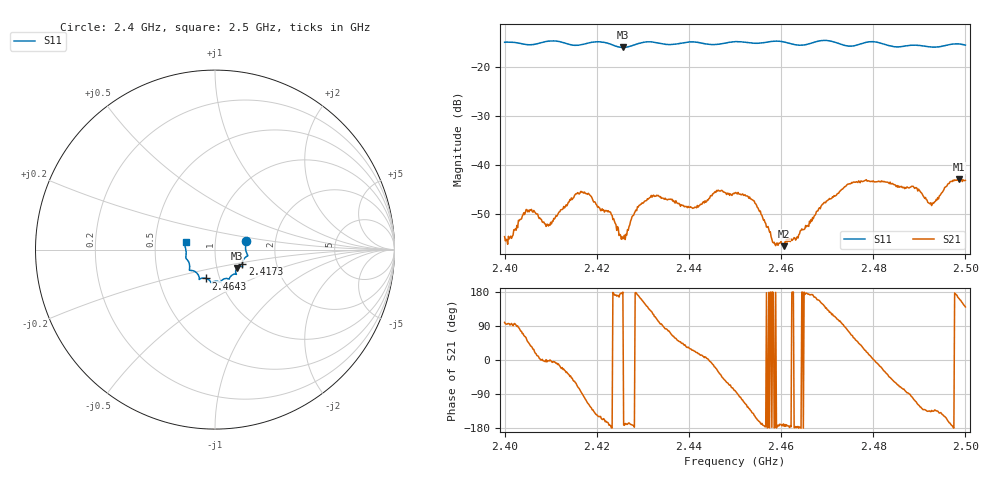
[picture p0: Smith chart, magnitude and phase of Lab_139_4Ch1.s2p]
# Hz S RI R 50
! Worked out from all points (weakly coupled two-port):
!   601 points, 2.4 GHz to 2.5 GHz, reference 50 ohm
!   highest |S21| = -42.91 dB at 2.4987 GHz (marker M1); lowest = -56.6 dB at 2.4607 GHz (marker M2)
!   lowest |S11| = -15.9 dB at 2.4257 GHz (marker M3), VSWR 1.38, Z = 62.4 - j13.1 ohm
!   |S11| at or under -10 dB: start of sweep to end of sweep
!   S12 and S22 are empty: the file has one direction only
!   S11 on the Smith chart (normalised r, x): 2.4 GHz: 1.41, +0.15; 2.4173 GHz: 1.34, -0.23; 2.4643 GHz: 0.86, -0.28; 2.5 GHz: 0.72, +0.06
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2.4e9  0.1734 0.0498  -0.000299 0.00183  0 0  0 0
2.404667e9  0.1703 0.0172  0.00183 0.00299  0 0  0 0
2.4095e9  0.1827 -0.0312  0.00238 -9.05e-05  0 0  0 0
2.416667e9  0.1531 -0.0746  0.000372 -0.00536  0 0  0 0
2.417333e9  0.1525 -0.0821  -0.000837 -0.00523  0 0  0 0
2.422833e9  0.1463 -0.0936  -0.00329 -0.000486  0 0  0 0
2.425667e9  0.1224 -0.1024  -0.00176 2.53e-05  0 0  0 0
2.429333e9  0.1165 -0.1331  -0.00376 0.000987  0 0  0 0
2.433333e9  0.1127 -0.1367  -0.00106 0.00478  0 0  0 0
2.441167e9  0.0774 -0.1646  0.00337 0.00145  0 0  0 0
2.446e9  0.0472 -0.1648  0.00504 -0.00222  0 0  0 0
2.45e9  0.0297 -0.1807  0.000856 -0.00513  0 0  0 0
2.453667e9  0.0126 -0.1765  -0.00333 -0.00293  0 0  0 0
2.458333e9  -0.0195 -0.1838  -0.0016 7.46e-05  0 0  0 0
2.460667e9  -0.0248 -0.18  -0.00148 -0.000127  0 0  0 0
2.464333e9  -0.05 -0.1608  -0.00215 -6.39e-06  0 0  0 0
2.466667e9  -0.0763 -0.1601  -0.00265 0.000348  0 0  0 0
2.474833e9  -0.1046 -0.1275  0.0019 0.00616  0 0  0 0
2.483333e9  -0.1412 -0.0895  0.00483 -0.00444  0 0  0 0
2.492667e9  -0.1603 -0.0175  -0.00263 -0.00281  0 0  0 0
2.498667e9  -0.1696 0.0348  -0.00678 0.00228  0 0  0 0
2.5e9  -0.1637 0.0421  -0.00535 0.00448  0 0  0 0
